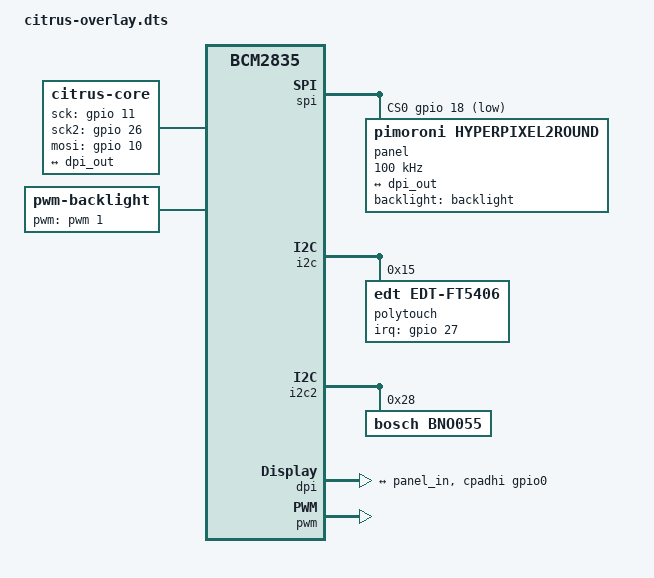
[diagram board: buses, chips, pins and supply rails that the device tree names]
/*
 * citrus-overlay.dts
 */

#include <dt-bindings/gpio/gpio.h>
#include <dt-bindings/pinctrl/bcm2835.h>

/dts-v1/;
/plugin/;

/ {
	compatible = "brcm,bcm2835";

	fragment@0 {
		target-path = "/";
		__overlay__ {
			citrus {
				/* Core driver multiplexes SPI and I2C */
				compatible = "citrus-core";
				#address-cells = <1>;
				#size-cells = <0>;

				/* Set bias for I2C compatibility */
				sck-gpios = <&gpio 11 (GPIO_ACTIVE_HIGH | GPIO_OPEN_DRAIN | GPIO_PULL_UP)>;
				sck2-gpios = <&gpio 26 (GPIO_ACTIVE_HIGH | GPIO_OPEN_DRAIN | GPIO_PULL_UP)>;
				mosi-gpios = <&gpio 10 (GPIO_ACTIVE_HIGH | GPIO_OPEN_DRAIN | GPIO_PULL_UP)>;

				spi {
					compatible = "spi-citrus";
					#address-cells = <1>;
					#size-cells = <0>;

					cs-gpios = <&gpio 18 GPIO_ACTIVE_LOW>;

					panel: display@0 {
						compatible = "pimoroni,hyperpixel2round";
						reg = <0>;
						/* 100 kHz */
						spi-max-frequency = <100000>;
						backlight = <&backlight>;
						rotation = <0>;

						port {
							panel_in: endpoint {
								remote-endpoint = <&dpi_out>;
							};
						};
					};
				};

				i2c {
					compatible = "i2c-citrus";
					i2c-gpio,delay-us = <4>;        /* ~100 kHz */
					#address-cells = <1>;
					#size-cells = <0>;

					polytouch: edt-ft5x06@15 {
						#address-cells = <1>;
						#size-cells = <0>;
						compatible = "edt,edt-ft5406";
						reg = <0x15>;
						interrupt-parent = <&gpio>;
						interrupts = <27 0x02>; /* IRQF_TRIGGER_FALLING */
						touchscreen-size-x = <240>;
						touchscreen-size-y = <240>;
					};
				};

				/* This node is optional */
				i2c2 {
					compatible = "i2c-citrus2";
					i2c-gpio,delay-us = <4>;        /* ~100 kHz */
					#address-cells = <1>;
					#size-cells = <0>;

					bno055@28 {
						#address-cells = <1>;
						#size-cells = <0>;
						compatible = "bosch,bno055";
						reg = <0x28>;
					};
				};
			};

			backlight: backlight {
				compatible = "pwm-backlight";
				pinctrl-0 = <&pwm1_gpio19>;
				pinctrl-names = "default";
				pwms = <&pwm 1 5000000 0>;
			};
		};
	};

	fragment@1 {
		target = <&dpi>;
		__overlay__  {
			status = "okay";

			pinctrl-names = "default";
			pinctrl-0 = <&dpi_18bit_cpadhi_gpio0>;

			port {
				dpi_out: endpoint {
					remote-endpoint = <&panel_in>;
				};
			};
		};
	};

	fragment@2 {
		target = <&pwm>;
		__overlay__  {
			status = "okay";
		};
	};

	__overrides__ {
		disable-touch = <0>,"-3";
		touchscreen-inverted-x = <&polytouch>,"touchscreen-inverted-x?";
		touchscreen-inverted-y = <&polytouch>,"touchscreen-inverted-y!";
		touchscreen-swapped-x-y = <&polytouch>,"touchscreen-swapped-x-y!";
		rotate = <&panel>, "rotation:0";
	};

};
